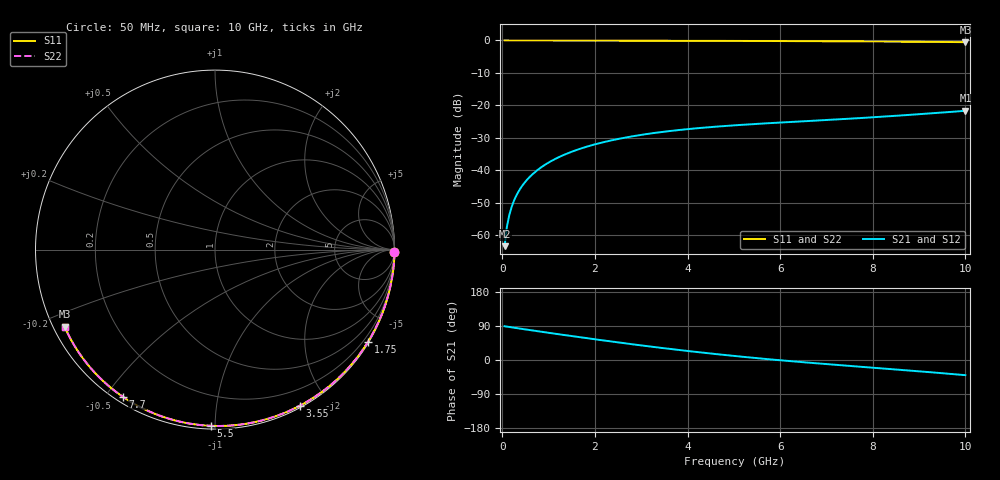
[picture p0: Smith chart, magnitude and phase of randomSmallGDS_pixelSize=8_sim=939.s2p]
! freq	dB(S11)	phase(S11)	dB(S12)	phase(S12)
!  dB(S21)	phase(S21)	dB(S22)	phase(S22)
!S-par simulation data
#  GHz  S  DB  R 50
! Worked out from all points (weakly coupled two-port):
!   200 points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, 50 MHz to 10 GHz, reference 50 ohm
!   highest |S21| = -21.70 dB at 10 GHz (marker M1); lowest = -63.5 dB at 50 MHz (marker M2)
!   lowest |S11| = -0.5 dB at 10 GHz (marker M3), VSWR 33.18, Z = 1.59 - j12.1 ohm
!   |S11| at or under -10 dB: nowhere
!   |S22| runs from -0.5 to 0.0 dB; largest |S21 - S12| = 0
!   S11 on the Smith chart (normalised r, x): 50 MHz: open; 1.75 GHz: 0.03, -3.59; 3.55 GHz: 0.02, -1.69; 5.5 GHz: 0.02, -0.98; 7.7 GHz: 0.02, -0.55; 10 GHz: 0.03, -0.24
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0.05  -0.00 -0.9  -63.46 89.0  -63.46 89.0  -0.00 -0.9
0.1  -0.00 -1.8  -57.44 88.1  -57.44 88.1  -0.00 -1.8
0.15  -0.00 -2.7  -53.93 87.1  -53.93 87.1  -0.00 -2.7
0.2  -0.00 -3.6  -51.43 86.2  -51.43 86.2  -0.00 -3.6
0.25  -0.00 -4.5  -49.51 85.2  -49.51 85.2  -0.00 -4.5
0.35  -0.00 -6.3  -46.60 83.4  -46.60 83.4  -0.00 -6.3
0.5  -0.01 -9.0  -43.54 80.6  -43.54 80.6  -0.01 -9.0
0.7  -0.01 -12.6  -40.67 77.1  -40.67 77.1  -0.01 -12.6
1  -0.02 -18.0  -37.66 71.8  -37.66 71.8  -0.02 -18.0
1.35  -0.03 -24.1  -35.18 65.7  -35.18 65.7  -0.03 -24.1
1.75  -0.04 -31.1  -33.09 58.9  -33.09 58.9  -0.04 -31.1
2.5  -0.06 -44.0  -30.39 46.4  -30.39 46.4  -0.06 -44.0
3.4  -0.08 -58.9  -28.32 32.5  -28.32 32.5  -0.08 -58.9
3.55  -0.09 -61.3  -28.06 30.3  -28.06 30.3  -0.09 -61.3
4.3  -0.11 -73.2  -26.96 19.8  -26.96 19.8  -0.11 -73.2
5.05  -0.14 -84.6  -26.14 10.2  -26.14 10.2  -0.14 -84.6
5.5  -0.16 -91.3  -25.73 4.9  -25.73 4.9  -0.16 -91.3
6.7  -0.22 -108.4  -24.78 -7.9  -24.78 -7.9  -0.22 -108.4
7.7  -0.29 -122.1  -23.97 -17.4  -23.97 -17.4  -0.29 -122.1
8.35  -0.34 -130.8  -23.38 -23.5  -23.38 -23.5  -0.34 -130.8
9.2  -0.43 -142.1  -22.54 -31.8  -22.54 -31.8  -0.43 -142.1
10  -0.52 -152.8  -21.70 -40.0  -21.70 -40.0  -0.52 -152.8
